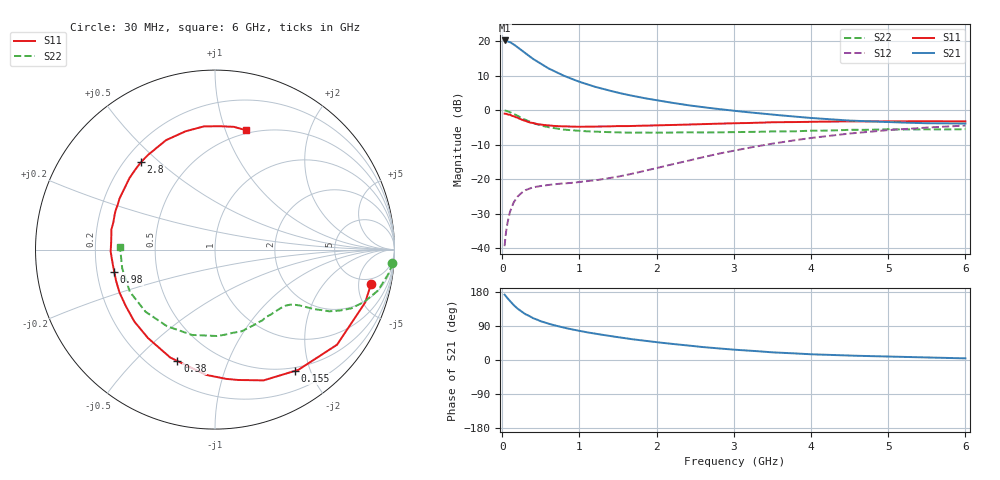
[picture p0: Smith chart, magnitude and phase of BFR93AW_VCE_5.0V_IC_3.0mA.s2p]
! Infineon Technologies  Discrete & RF Semiconductors
! BFR93AW
! VCE =  5.0 V,  IC =  3.0 mA
! Common Emitter S-Parameters:  Nov 2015
# GHz  S  MA  R  50
!  f  S11  S21  S12  S22
! GHz  MAG  ANG  MAG  ANG  MAG  ANG  MAG  ANG
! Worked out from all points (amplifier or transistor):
!   206 points, 30 MHz to 6 GHz, reference 50 ohm
!   highest |S21| = 20.2 dB at 30 MHz (marker M1)
!   |S21| within 3 dB of that: start of sweep to 258.8 MHz
!   unconditionally stable (mu >= 1): 1.108 GHz to 2.27 GHz
!   at 200 MHz: K = 0.21, MSG = 21.6 dB, |S12| = -25.0 dB
!   at 1.56 GHz: K = 1.13, MAG = 9.7 dB, |S12| = -19.0 dB
!   at 6 GHz: K = 0.96, MSG = 0.3 dB, |S12| = -4.5 dB
!   S11 on the Smith chart (normalised r, x): 30 MHz: 3.83, -7.10; 155 MHz: 0.45, -1.77; 380 MHz: 0.31, -0.67; 980 MHz: 0.27, -0.10; 2.8 GHz: 0.27, +0.43; 6 GHz: 0.47, +1.18
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0.03  0.8901 -12.5  10.22 172.4  0.0107 84.4  0.9904 -4.4
0.05  0.8873 -19.3  10.12 167.1  0.0176 79.1  0.9799 -7.4
0.1  0.8622 -37.9  9.678 155.4  0.0337 70.3  0.9374 -14.0
0.155  0.8091 -56.7  8.847 143.5  0.0475 61.4  0.8753 -19.7
0.2  0.7773 -69.6  8.153 135.3  0.0563 55.6  0.8253 -23.4
0.26  0.7231 -85.0  7.219 126.1  0.0646 49.7  0.7595 -26.7
0.3  0.6997 -94.1  6.671 120.9  0.0693 46.9  0.7229 -28.4
0.38  0.6551 -108.6  5.727 112.8  0.0748 43.2  0.6636 -30.3
0.4  0.651 -112.5  5.513 110.3  0.0763 42.4  0.6489 -30.8
0.5  0.6184 -127.1  4.68 102.1  0.0798 39.5  0.5981 -32.3
0.6  0.6021 -138.3  4.019 95.6  0.0825 38.5  0.5653 -33.4
0.8  0.5832 -155.9  3.143 85.2  0.0868 39.8  0.5219 -36.0
0.98  0.5751 -167.4  2.624 77.7  0.0906 43.1  0.5032 -38.3
1.04  0.575 -170.8  2.488 75.4  0.0922 44.4  0.4979 -39.5
1.2  0.5814 -179.0  2.183 69.6  0.0961 48.1  0.4882 -42.4
1.5  0.588 169.0  1.787 60.2  0.1088 55.7  0.478 -48.9
2.02  0.6036 151.3  1.377 46.4  0.1465 65.1  0.4731 -62.0
2.8  0.6381 130.4  1.039 30.6  0.2337 67.9  0.4775 -83.4
3.1  0.6483 123.1  0.953 26.0  0.2716 66.1  0.4806 -92.0
4.1  0.6799 102.2  0.757 14.4  0.4073 55.0  0.5038 -125.5
5.1  0.6882 86.4  0.665 8.5  0.5222 40.4  0.5263 -156.6
6  0.6871 75.4  0.64 4.3  0.598 27.9  0.5297 178.2
